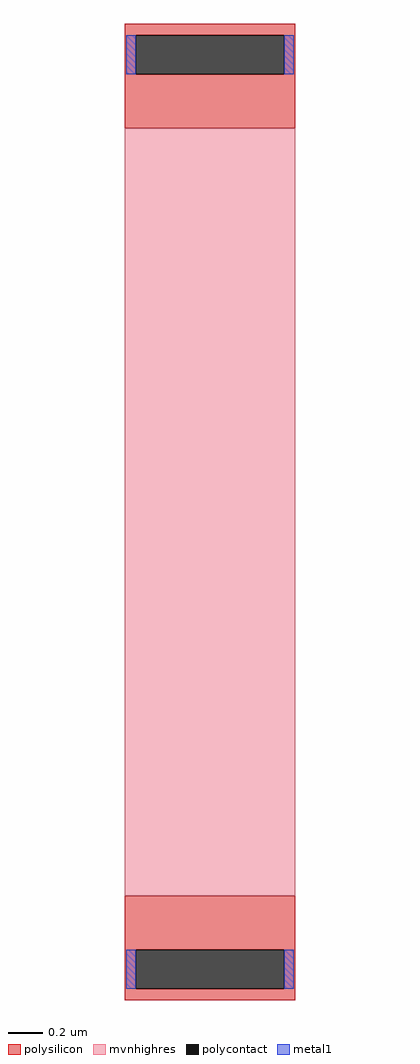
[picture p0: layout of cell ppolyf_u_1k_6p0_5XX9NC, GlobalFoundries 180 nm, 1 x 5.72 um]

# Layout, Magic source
magic
tech gf180mcuD
magscale 1 10
<< polysilicon >>
rect -100 559 100 572
rect -100 513 -87 559
rect 87 513 100 559
rect -100 450 100 513
rect -100 -513 100 -450
rect -100 -559 -87 -513
rect 87 -559 100 -513
rect -100 -572 100 -559
<< polycontact >>
rect -87 513 87 559
rect -87 -559 87 -513
<< mvnhighres >>
rect -100 -450 100 450
<< metal1 >>
rect -98 513 -87 559
rect 87 513 98 559
rect -98 -559 -87 -513
rect 87 -559 98 -513
<< properties >>
string gencell ppolyf_u_1k_6p0
string library gf180mcu
string parameters w 1.0 l 4.5 m 1 nx 1 wmin 1.000 lmin 1.000 class resistor rho 1000 val 4.637k dummy 0 dw 0.0296 term 0.0 sterm 0.0 caplen 0.4 snake 0 glc 0 grc 0 gtc 0 gbc 0 roverlap 0 endcov 100 full_metal 0 guard 0 guard_type pwell compatible {ppolyf_u_1k ppolyf_u_1k_6p0}
<< end >>
